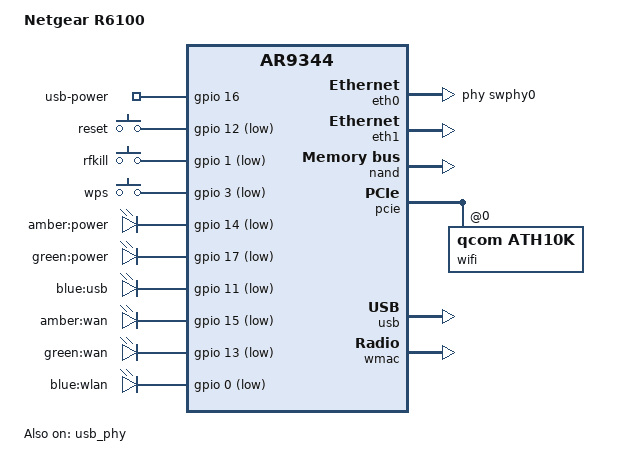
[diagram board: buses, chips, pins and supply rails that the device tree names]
// SPDX-License-Identifier: GPL-2.0-or-later OR MIT

#include "ar9344.dtsi"

#include <dt-bindings/gpio/gpio.h>
#include <dt-bindings/input/input.h>

/ {
	model = "Netgear R6100";
	compatible = "netgear,r6100", "qca,ar9344";

	aliases {
		label-mac-device = &eth0;
		led-boot = &led_power_green;
		led-failsafe = &led_power_amber;
		led-running = &led_power_green;
		led-upgrade = &led_power_green;
	};

	gpio-export {
		compatible = "gpio-export";
		#size-cells = <0>;

		usb-power {
			gpio-export,name = "usb-power";
			gpio-export,output = <1>;
			gpios = <&gpio 16 GPIO_ACTIVE_HIGH>;
		};
	};

	keys {
		compatible = "gpio-keys";

		reset {
			label = "reset";
			linux,code = <KEY_RESTART>;
			gpios = <&gpio 12 GPIO_ACTIVE_LOW>;
			debounce-interval = <60>;
		};

		rfkill {
			label = "rfkill";
			linux,code = <KEY_RFKILL>;
			gpios = <&gpio 1 GPIO_ACTIVE_LOW>;
			debounce-interval = <60>;
		};

		wps {
			label = "wps";
			linux,code = <KEY_WPS_BUTTON>;
			gpios = <&gpio 3 GPIO_ACTIVE_LOW>;
			debounce-interval = <60>;
		};
	};

	leds {
		compatible = "gpio-leds";

		led_power_amber: power_amber {
			label = "amber:power";
			gpios = <&gpio 14 GPIO_ACTIVE_LOW>;
		};

		led_power_green: power_green {
			label = "green:power";
			gpios = <&gpio 17 GPIO_ACTIVE_LOW>;
		};

		usb {
			label = "blue:usb";
			gpios = <&gpio 11 GPIO_ACTIVE_LOW>;
			trigger-sources = <&hub_port>;
			linux,default-trigger = "usbport";
		};

		wan_amber {
			label = "amber:wan";
			gpios = <&gpio 15 GPIO_ACTIVE_LOW>;
		};

		wan_green {
			label = "green:wan";
			gpios = <&gpio 13 GPIO_ACTIVE_LOW>;
		};

		wlan {
			label = "blue:wlan";
			gpios = <&gpio 0 GPIO_ACTIVE_LOW>;
			linux,default-trigger = "phy1tpt";
		};
	};
};

&eth0 {
	status = "okay";

	phy-handle = <&swphy0>;

	nvmem-cells = <&macaddr_caldata_6>;
	nvmem-cell-names = "mac-address";

	gmac-config {
		device = <&gmac>;
		switch-phy-swap = <1>;
	};
};

&eth1 {
	status = "okay";

	nvmem-cells = <&macaddr_caldata_0>;
	nvmem-cell-names = "mac-address";
};

&nand {
	status = "okay";

	partitions {
		compatible = "fixed-partitions";
		#address-cells = <1>;
		#size-cells = <1>;

		partition@0 {
			label = "u-boot";
			reg = <0x0000000 0x0020000>;
			read-only;
		};

		caldata: partition@20000 {
			label = "caldata";
			reg = <0x0020000 0x0040000>;
			read-only;
		};

		partition@60000 {
			label = "caldata-backup";
			reg = <0x0060000 0x0040000>;
			read-only;
		};

		partition@a0000 {
			label = "config";
			reg = <0x00a0000 0x0080000>;
			read-only;
		};

		partition@120000 {
			label = "pot";
			reg = <0x0120000 0x0080000>;
			read-only;
		};

		partition@1a0000 {
			label = "kernel";
			reg = <0x01a0000 0x0400000>;
		};

		partition@5a0000 {
			label = "ubi";
			reg = <0x05a0000 0x7560000>;
		};

		partition@7b00000 {
			label = "language";
			reg = <0x7b00000 0x0200000>;
			read-only;
		};

		partition@7d00000 {
			label = "traffic_meter";
			reg = <0x7d00000 0x0300000>;
			read-only;
		};
	};
};

&pcie {
	status = "okay";

	wifi@0,0,0 {
		compatible = "qcom,ath10k";
		reg = <0x0000 0 0 0 0>;

		nvmem-cells = <&macaddr_caldata_c>;
		nvmem-cell-names = "mac-address";
	};
};

&ref {
	clock-frequency = <40000000>;
};

&usb {
	status = "okay";

	#address-cells = <1>;
	#size-cells = <0>;

	hub_port: port@1 {
		reg = <1>;
		#trigger-source-cells = <0>;
	};
};

&usb_phy {
	status = "okay";
};

&wmac {
	status = "okay";

	mtd-cal-data = <&caldata 0x1000>;
};

&caldata {
	compatible = "nvmem-cells";
	#address-cells = <1>;
	#size-cells = <1>;

	macaddr_caldata_0: macaddr@0 {
		reg = <0x0 0x6>;
	};

	macaddr_caldata_6: macaddr@6 {
		reg = <0x6 0x6>;
	};

	macaddr_caldata_c: macaddr@c {
		reg = <0xc 0x6>;
	};
};
